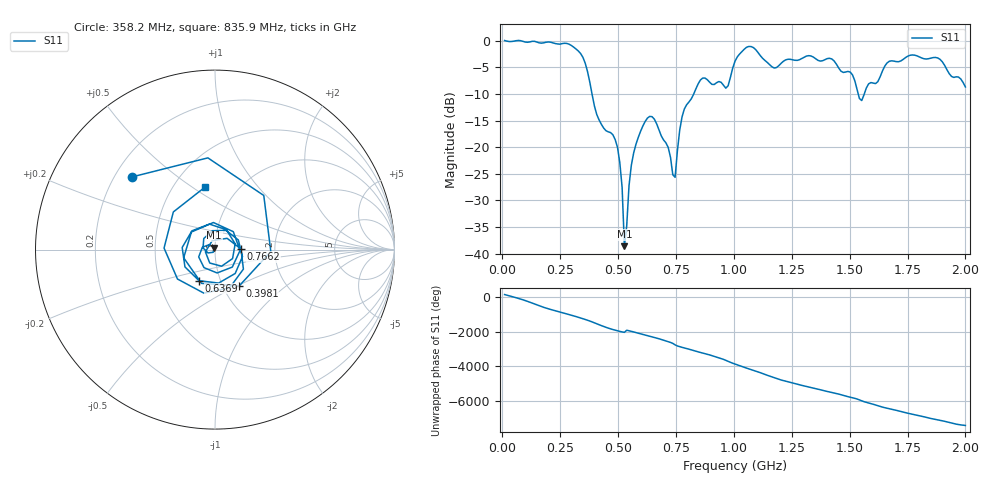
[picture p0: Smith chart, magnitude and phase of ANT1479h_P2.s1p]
!Created with skrf (http://scikit-rf.org).
# Hz S RI R 50.0
!freq ReS11 ImS11
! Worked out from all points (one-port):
!   201 points, 10 MHz to 2 GHz, reference 50 ohm
!   lowest |S11| = -38.6 dB at 527.4 MHz (marker M1), VSWR 1.02, Z = 49.5 + j1.07 ohm
!   |S11| at or under -10 dB: 387.5 MHz to 826.8 MHz (439.3 MHz wide, 72.4 % of centre); 1.537 GHz to 1.563 GHz (26.05 MHz wide, 1.68 % of centre)
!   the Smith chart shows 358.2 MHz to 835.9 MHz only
!   S11 on the Smith chart (normalised r, x): 358.2 MHz: 0.27, +0.35; 398.1 MHz: 1.19, -0.51; 636.9 MHz: 0.79, -0.28; 766.2 MHz: 1.34, +0.01; 835.9 MHz: 0.71, +0.56
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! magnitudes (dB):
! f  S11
! 10 MHz  0.1
! 258.8 MHz  -0.5
! 358.2 MHz  -4.2
! 398.1 MHz  -12.3
! 487.6 MHz  -18.6
! 507.5 MHz  -22.9
! 517.5 MHz  -27.6
! 527.4 MHz  -38.6
! 547.3 MHz  -27.2
! 567.2 MHz  -21.1
! 636.9 MHz  -14.2
! 716.5 MHz  -20.0
! 736.4 MHz  -25.2
! 746.3 MHz  -25.7
! 756.2 MHz  -20.7
! 766.2 MHz  -16.8
! 835.9 MHz  -9.1
! 965.2 MHz  -8.9
! 1.005 GHz  -3.9
! 1.065 GHz  -1.1
! 1.174 GHz  -5.1
! 1.254 GHz  -3.6
! 1.502 GHz  -5.9
! 1.552 GHz  -11.2
! 1.662 GHz  -4.2
! 1.751 GHz  -2.9
! 1.881 GHz  -3.2
! 2 GHz  -8.7
